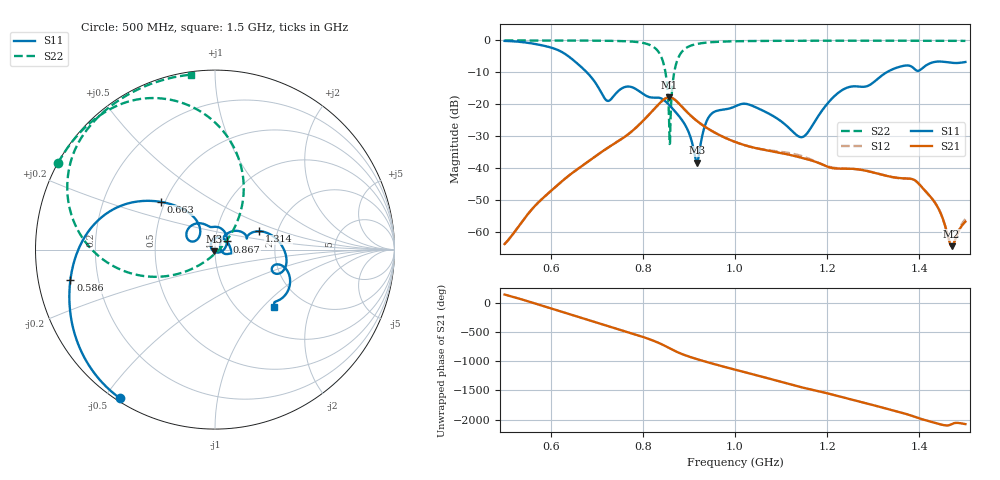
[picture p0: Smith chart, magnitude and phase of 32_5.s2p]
! TOUCHSTONE file generated by CST MICROWAVE STUDIO
! Date and time: Fri Oct  2 19:15:39 2020
! Project name: Scenario_1_Free_Space_out_of_line.cst
! Parameters = {Lambda=346.42; Step_1=17.321; dy1=-189.931; dx1=866; L_HA=400; MT=2.54; Rad_Dielectric=30; Rad_Lower=7.3; Rad_Upper=30; a_HA=580; a_WG=246; b_HA=500; b_WG=121; c_HA=0; c_WG=187; d_feed=85; h_feed=15; h_lower=18; h_upper=40}
! Header version: 2018
! Port assignment regex: !\s*Touchstone port\s*([0-9]+)\s*=\s*(CST MWS port|CST DS port)\s*([0-9]+|Zmin|Zmax)\s*\(\"(.*)\"\)(\s*mode\s*([0-9]+))?.*
! Touchstone port assignment:
! Touchstone port 1 = CST MWS port 1 ("")
! Touchstone port 2 = CST MWS port 2 ("")
# GHz S DB R 50
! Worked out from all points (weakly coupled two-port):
!   1003 points, 500 MHz to 1.5 GHz, reference 50 ohm
!   highest |S21| = -17.85 dB at 857 MHz (marker M1); lowest = -64.5 dB at 1.47 GHz (marker M2)
!   lowest |S11| = -38.3 dB at 917 MHz (marker M3), VSWR 1.02, Z = 49.4 - j1.04 ohm
!   |S11| at or under -10 dB: 678.4 MHz to 1.329 GHz (650.8 MHz wide, 64.8 % of centre)
!   |S22| runs from -32.5 to 0.0 dB; largest |S21 - S12| = 0.0012
!   S11 on the Smith chart (normalised r, x): 500 MHz: 0.01, -0.55; 586 MHz: 0.10, -0.10; 663 MHz: 0.47, +0.30; 867 MHz: 1.14, +0.10; 1.314 GHz: 1.60, +0.35; 1.5 GHz: 1.44, -1.16
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0.5  -0.15 -122.6  -63.89 140.6  -63.89 140.6  -0.01 151.1
0.586  -1.69 -168.2  -49.10 -61.8  -49.10 -61.8  -0.02 145.2
0.663  -7.90 138.7  -39.89 110.3  -39.90 110.3  -0.04 138.7
0.667  -8.42 136.6  -39.49 100.6  -39.49 100.6  -0.04 138.3
0.723  -18.96 142.8  -33.77 -35.9  -33.77 -35.9  -0.11 131.8
0.767  -14.46 141.5  -29.58 -142.1  -29.58 -142.1  -0.28 123.7
0.834  -17.95 83.8  -20.06 34.4  -20.06 34.4  -3.59 86.0
0.848  -18.97 61.6  -18.28 -17.5  -18.28 -17.5  -9.14 62.9
0.857  -20.23 48.0  -17.85 -54.3  -17.85 -54.3  -25.23 30.0
0.867  -21.81 34.1  -18.35 -95.1  -18.35 -95.1  -10.93 -149.6
0.888  -25.64 3.3  -21.29 -167.2  -21.29 -167.2  -3.05 178.4
0.917  -38.32 -119.4  -25.22 116.2  -25.22 116.2  -1.12 159.2
0.945  -23.65 82.6  -28.00 51.6  -28.00 51.6  -0.59 150.2
1  -20.72 -5.2  -31.84 -65.3  -31.84 -65.3  -0.26 140.2
1.141  -30.30 7.3  -36.69 -0.6  -36.12 1.6  -0.10 126.2
1.167  -26.90 49.1  -37.72 -49.3  -37.50 -47.4  -0.09 124.1
1.227  -16.12 42.0  -40.21 -164.5  -40.15 -164.6  -0.09 119.5
1.314  -11.54 22.7  -41.96 18.2  -41.93 18.2  -0.09 113.0
1.334  -9.60 13.2  -42.65 -23.6  -42.70 -23.7  -0.09 111.4
1.401  -9.33 -14.7  -45.31 177.7  -45.31 177.7  -0.10 106.2
1.47  -7.01 -40.2  -64.54 82.0  -64.54 80.9  -0.13 100.5
1.5  -6.77 -43.9  -56.86 82.8  -56.08 82.1  -0.14 97.9
